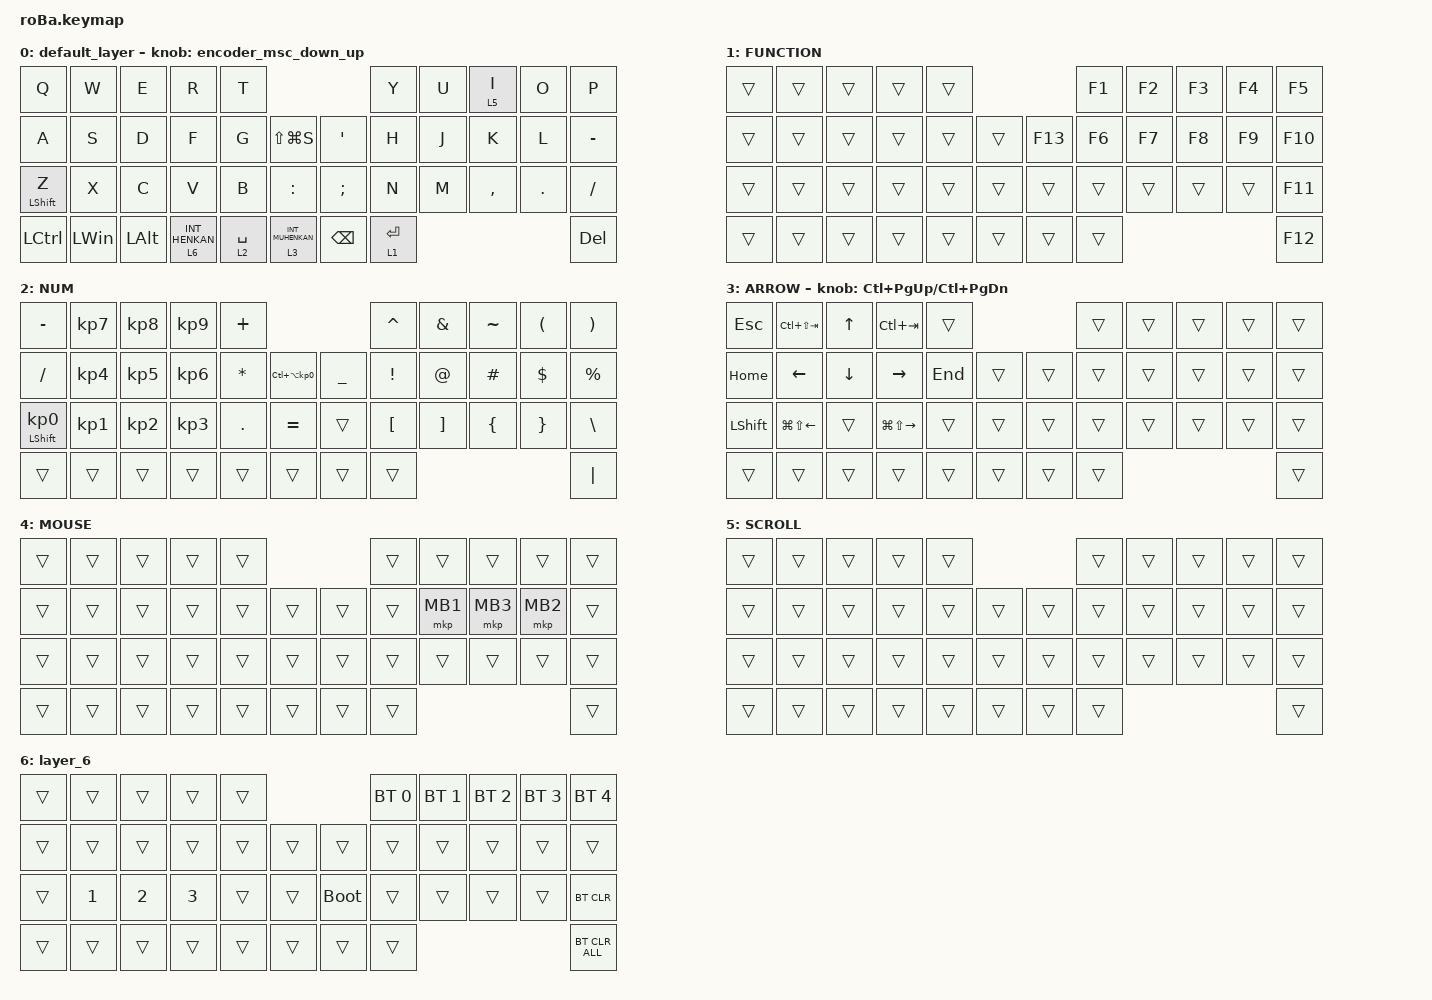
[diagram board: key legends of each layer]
#include <behaviors.dtsi>
#include <dt-bindings/zmk/bt.h>
#include <dt-bindings/zmk/keys.h>
#include <dt-bindings/zmk/pointing.h>
#include <input/processors.dtsi>


#define ZMK_POINTING_DEFAULT_SCRL_VAL 80
#define MOUSE 4

// OS設定を日本語キーボードのまま使用するための変換定義
#define JP_DQUOTE       AT                // "
#define JP_AMPERSAND    CARET             // &
#define JP_QUOTE        AMPERSAND         // '
#define JP_EQUAL        UNDER             // =
#define JP_CARET        EQUAL             // ^
#define JP_YEN          0x89              // ¥
#define JP_PLUS         COLON             // +
#define JP_TILDE        PLUS              // ~
#define JP_PIPE         LS(0x89)          // |
#define JP_AT           LEFT_BRACKET      // @
#define JP_COLON        SINGLE_QUOTE      // :
#define JP_ASTERISK     DOUBLE_QUOTES     // *
#define JP_BACKQUOTE    LEFT_BRACE        // `
#define JP_UNDERSCORE   LS(0x87)          // _
#define JP_LBRACKET     RIGHT_BRACKET     // [
#define JP_RBRACKET     BACKSLASH         // ]
#define JP_LPAREN       ASTERISK          // (
#define JP_RPAREN       LEFT_PARENTHESIS  // )
#define JP_LBRACE       RIGHT_BRACE       // {
#define JP_RBRACE       PIPE              // }
#define JP_KANA         LANGUAGE_1        // かな
#define JP_EISU         LANGUAGE_2        // 英数
#define JP_HANZEN       GRAVE             // 半角/全角

/{
    macros {
        exit_AML: exit_AML {
            compatible = "zmk,behavior-macro";
            wait-ms = <0>;
            tap-ms = <0>;
            #binding-cells = <0>;
            bindings = <&tog_off MOUSE>;
            label = "exit_AML";
        };

        kp_exit_AML: kp_exit_AML {
            compatible = "zmk,behavior-macro-one-param";
            wait-ms = <0>;
            tap-ms = <0>;
            #binding-cells = <1>;
            bindings = <&macro_param_1to1 &kp MACRO_PLACEHOLDER &exit_AML>;
            label = "KP_exit_AML";
        };
    };

    behaviors {
        tog_off: toggle_layer_off {
            compatible = "zmk,behavior-toggle-layer";
            #binding-cells = <1>;
            display-name = "Toggle Layer Off";
            toggle-mode = "off";
        };

        mt_exit_AML_on_tap: mt_exit_AML_on_tap {
            compatible = "zmk,behavior-hold-tap";
            label = "MT_exit_AML_ON_TAP";
            bindings = <&kp &kp_exit_AML>;


            #binding-cells = <2>;
            tapping-term-ms = <200>;
            flavor = "balanced";
            quick-tap-ms = <200>;
        };
    };
};

 &mt {
    flavor = "balanced";
    quick-tap-ms = <0>;
 };

 &mkp_input_listener {
    input-processors = <&zip_temp_layer 4 100000>;
 };

&trackball {
    // automouse-layer = <4>;
    scroll-layers = <5>;

    arrows {
        layers = <3>;
        bindings =
            <&kp RIGHT_ARROW>,
            <&kp LEFT_ARROW>,
            <&kp UP_ARROW>,
            <&kp DOWN_ARROW>;

        tick = <10>;
        wait-ms = <5>;
        tap-ms = <5>;
    };
};

/ {
    combos {
        compatible = "zmk,combos";

        tab {
            bindings = <&kp TAB>;
            key-positions = <11 12>;
        };

        shift_tab {
            bindings = <&kp LS(TAB)>;
            key-positions = <12 13>;
        };

        muhennkann {
            bindings = <&to_layer_0 INT_MUHENKAN>;
            key-positions = <11 10>;
        };

        double_quotation {
            bindings = <&kp DOUBLE_QUOTES>;
            key-positions = <20 21>;
        };

        eq {
            bindings = <&kp EQUAL>;
            key-positions = <24 25>;
        };
    };

    macros {
        to_layer_0: to_layer_0 {
            compatible = "zmk,behavior-macro-one-param";
            #binding-cells = <1>;
            bindings = <&to 0 &macro_param_1to1 &kp MACRO_PLACEHOLDER>;
            label = "TO_LAYER_0";
        };
    };

    behaviors {
        encoder_msc_down_up: encoder_msc_down_up {
            compatible = "zmk,behavior-sensor-rotate";
            label = "ENCODER_MSC_DOWN_UP";
            #sensor-binding-cells = <0>;
            bindings = <&msc SCRL_DOWN>, <&msc SCRL_UP>;

            tap-ms = <20>;
        };
    };

    keymap {
        compatible = "zmk,keymap";

        default_layer {
            bindings = <
&kp Q             &kp W         &kp E         &kp R             &kp T                                               &kp Y        &kp U  &lt 5 I    &kp O    &kp P
&kp A             &kp S         &kp D         &kp F             &kp G        &kp LS(LG(S))           &kp APOS       &kp H        &kp J  &kp K      &kp L    &kp MINUS
&mt LEFT_SHIFT Z  &kp X         &kp C         &kp V             &kp B        &kp COLON               &kp SEMICOLON  &kp N        &kp M  &kp COMMA  &kp DOT  &kp SLASH
&kp LCTRL         &kp LEFT_WIN  &kp LEFT_ALT  &lt 6 INT_HENKAN  &lt 2 SPACE  &lt 3 INT_MUHENKAN      &kp BACKSPACE  &lt 1 ENTER                             &kp DEL
            >;

            sensor-bindings = <&encoder_msc_down_up>;
        };

        FUNCTION {
            bindings = <
&trans  &trans  &trans  &trans  &trans                       &kp F1  &kp F2  &kp F3  &kp F4  &kp F5
&trans  &trans  &trans  &trans  &trans  &trans      &kp F13  &kp F6  &kp F7  &kp F8  &kp F9  &kp F10
&trans  &trans  &trans  &trans  &trans  &trans      &trans   &trans  &trans  &trans  &trans  &kp F11
&trans  &trans  &trans  &trans  &trans  &trans      &trans   &trans                          &kp F12
            >;
        };

        NUM {
            bindings = <
&kp MINUS                   &kp KP_NUMBER_7  &kp KP_NUMBER_8  &kp KP_NUMBER_9  &kp PLUS                                                   &kp CARET         &kp AMPERSAND      &kp TILDE       &kp LEFT_PARENTHESIS  &kp RIGHT_PARENTHESIS
&kp SLASH                   &kp KP_NUMBER_4  &kp KP_NUMBER_5  &kp KP_NUMBER_6  &kp ASTERISK  &kp LC(LA(KP_NUMBER_0))      &kp UNDERSCORE  &kp EXCLAMATION   &kp AT_SIGN        &kp HASH        &kp DOLLAR            &kp PERCENT
&mt LEFT_SHIFT KP_NUMBER_0  &kp KP_NUMBER_1  &kp KP_NUMBER_2  &kp KP_NUMBER_3  &kp PERIOD    &kp EQUAL                    &trans          &kp LEFT_BRACKET  &kp RIGHT_BRACKET  &kp LEFT_BRACE  &kp RIGHT_BRACE       &kp BACKSLASH
&trans                      &trans           &trans           &trans           &trans        &trans                       &trans          &trans                                                                     &kp PIPE
            >;
        };

        ARROW {
            bindings = <
&kp ESCAPE      &kp LC(LS(TAB))         &kp UP_ARROW    &kp LC(TAB)              &trans                       &trans  &trans  &trans  &trans  &trans
&kp HOME        &kp LEFT_ARROW          &kp DOWN_ARROW  &kp RIGHT_ARROW          &kp END  &trans      &trans  &trans  &trans  &trans  &trans  &trans
&kp LEFT_SHIFT  &kp LG(LS(LEFT_ARROW))  &trans          &kp LG(LS(RIGHT_ARROW))  &trans   &trans      &trans  &trans  &trans  &trans  &trans  &trans
&trans          &trans                  &trans          &trans                   &trans   &trans      &trans  &trans                          &trans
            >;

            sensor-bindings = <&inc_dec_kp LC(PAGE_UP) LC(PAGE_DOWN)>;
        };

        MOUSE {
            bindings = <
&trans  &trans  &trans  &trans  &trans                      &trans  &trans    &trans    &trans    &trans
&trans  &trans  &trans  &trans  &trans  &trans      &trans  &trans  &mkp MB1  &mkp MB3  &mkp MB2  &trans
&trans  &trans  &trans  &trans  &trans  &trans      &trans  &trans  &trans    &trans    &trans    &trans
&trans  &trans  &trans  &trans  &trans  &trans      &trans  &trans                                &trans
            >;
        };

        SCROLL {
            bindings = <
&trans  &trans  &trans  &trans  &trans                      &trans  &trans  &trans  &trans  &trans
&trans  &trans  &trans  &trans  &trans  &trans      &trans  &trans  &trans  &trans  &trans  &trans
&trans  &trans  &trans  &trans  &trans  &trans      &trans  &trans  &trans  &trans  &trans  &trans
&trans  &trans  &trans  &trans  &trans  &trans      &trans  &trans                          &trans
            >;
        };

        layer_6 {
            bindings = <
&trans  &trans        &trans        &trans        &trans                           &bt BT_SEL 0  &bt BT_SEL 1  &bt BT_SEL 2  &bt BT_SEL 3  &bt BT_SEL 4
&trans  &trans        &trans        &trans        &trans  &trans      &trans       &trans        &trans        &trans        &trans        &trans
&trans  &kp NUMBER_1  &kp NUMBER_2  &kp NUMBER_3  &trans  &trans      &bootloader  &trans        &trans        &trans        &trans        &bt BT_CLR
&trans  &trans        &trans        &trans        &trans  &trans      &trans       &trans                                                  &bt BT_CLR_ALL
            >;
        };
    };
};
